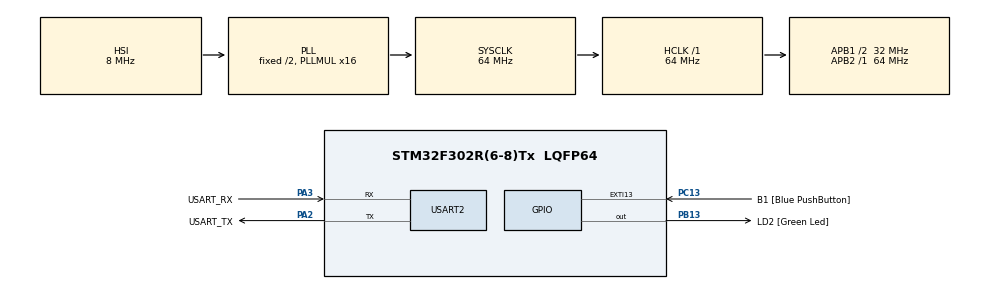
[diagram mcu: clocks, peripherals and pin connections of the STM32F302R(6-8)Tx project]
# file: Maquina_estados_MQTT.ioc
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Mcu.Family=STM32F3
Mcu.Name=STM32F302R(6-8)Tx
Mcu.Package=LQFP64
NVIC.PriorityGroup=NVIC_PRIORITYGROUP_0
PA13.GPIO_Label=TMS
PA13.Mode=Serial_Wire
PA13.Signal=SYS_JTMS-SWDIO
PA14.GPIO_Label=TCK
PA14.Mode=Serial_Wire
PA14.Signal=SYS_JTCK-SWCLK
PA2.GPIO_Label=USART_TX
PA2.GPIO_Mode=GPIO_MODE_AF_PP
PA2.GPIO_PuPd=GPIO_NOPULL
PA2.GPIO_Speed=GPIO_SPEED_FREQ_LOW
PA2.Mode=Asynchronous
PA2.Signal=USART2_TX
PA3.GPIO_Label=USART_RX
PA3.GPIO_Mode=GPIO_MODE_AF_PP
PA3.GPIO_PuPd=GPIO_NOPULL
PA3.GPIO_Speed=GPIO_SPEED_FREQ_LOW
PA3.Mode=Asynchronous
PA3.Signal=USART2_RX
PB13.GPIO_Label=LD2 [Green Led]
PB13.Signal=GPIO_Output
PB3.GPIO_Label=SWO
PB3.Mode=Trace_Asynchronous_SW
PB3.Signal=SYS_JTDO-TRACESWO
PC13.GPIO_Label=B1 [Blue PushButton]
PC13.GPIO_ModeDefaultEXTI=GPIO_MODE_IT_FALLING
PC13.Signal=GPXTI13
PC14\ -\ OSC32_IN.Mode=LSE-External-Oscillator
PC14\ -\ OSC32_IN.Signal=RCC_OSC32_IN
PC15\ -\ OSC32_OUT.Mode=LSE-External-Oscillator
PC15\ -\ OSC32_OUT.Signal=RCC_OSC32_OUT
PF0-OSC_IN.Mode=HSE-External-Clock-Source
PF0-OSC_IN.Signal=RCC_OSC_IN
PF1-OSC_OUT.Signal=RCC_OSC_OUT
ProjectManager.HeapSize=0x200
ProjectManager.StackSize=0x400
ProjectManager.TargetToolchain=STM32CubeIDE
RCC.AHBFreq_Value=64000000
RCC.APB1CLKDivider=RCC_HCLK_DIV2
RCC.APB1Freq_Value=32000000
RCC.APB1TimFreq_Value=64000000
RCC.APB2Freq_Value=64000000
RCC.APB2TimFreq_Value=64000000
RCC.CortexFreq_Value=64000000
RCC.HCLKFreq_Value=64000000
RCC.HSE_VALUE=8000000
RCC.HSI_VALUE=8000000
RCC.PLLM=8
RCC.PLLMUL=RCC_PLL_MUL16
RCC.PLLN=336
RCC.PLLP=RCC_PLLP_DIV4
RCC.PLLQ=7
RCC.RCC_PLLsource_Clock_Source_FROM_HSE=RCC_HSE_PREDIV_DIV2
RCC.SYSCLKFreq_VALUE=64000000
RCC.SYSCLKSourceVirtual=RCC_SYSCLKSOURCE_PLLCLK
RCC.USBFreq_Value=64000000
USART2.VirtualMode-Asynchronous=VM_ASYNC
board=NUCLEO-F302R8

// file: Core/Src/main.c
/* USER CODE BEGIN Header */
/**
  ******************************************************************************
  * @file           : main.c
  * @brief          : Main program body
  ******************************************************************************
  * @attention
  *
  * Copyright (c) 2024 STMicroelectronics.
  * All rights reserved.
  *
  * This software is licensed under terms that can be found in the LICENSE file
  * in the root directory of this software component.
  * If no LICENSE file comes with this software, it is provided AS-IS.
  *
  ******************************************************************************
  */
/* USER CODE END Header */
#include "main.h"

/* USER CODE BEGIN PD */
#define ESTADO_INICIO 0
#define ESTADO_CERRADO 2
#define ESTADO_CERRANDO 3
#define ESTADO_ABIERTO 4
#define ESTADO_ABRIENDO 5
#define ESTADO_ERR 6
#define ESTADO_T 1
#define ESTADO_F 0
#define RT_MAX 180
#define ERR_OK 0
#define ERR_LS 1
#define ERROR_RT 2

/* USER CODE END PD */

UART_HandleTypeDef huart2;

/* USER CODE BEGIN PV */
int ESTADO_SIGUIENTE = ESTADO_INICIO;
int ESTADO_ACTUAL = ESTADO_INICIO;
int ESTADO_ANTERIOR = ESTADO_INICIO;

struct DATA_IO
{
	unsigned int LSC:1;
	unsigned int LSA:1;
	unsigned int SPP:1; // COMANDO PULSO PULSO
	unsigned int MA:1; // INDICA MOTOR ABIERTO
	unsigned int MC:1; // INDICA MOTOR CERRADO
	unsigned int Cont_RT; // CONTADOR DE RUN TIME EN SEGUNDOS
	unsigned int Led_A:1;
	unsigned int Led_C:1;
	unsigned int Led_ERR:1;
	unsigned int COD_ERR: 1;
	unsigned int  DATOS_READY:1;

}data_io;

/* USER CODE END PV */

void SystemClock_Config(void);
static void MX_GPIO_Init(void);
static void MX_USART2_UART_Init(void);

/* USER CODE BEGIN 0 */
int Fun_INICIO(void);
int Fun_CERRADO(void);
int Fun_CERRANDO(void);
int Fun_ABRIENDO(void);
int Fun_ABIERTO(void);
int Fun_ERR(void);
int main(
/* USER CODE END 0 */

int main(void)
{

  /* USER CODE BEGIN 1 */

	for(;;)
	{
		if(ESTADO_SIGUIENTE == ESTADO_INICIO)
		{
			ESTADO_SIGUIENTE == Fun_INICIO();
		}

		if(ESTADO_SIGUIENTE == ESTADO_CERRADO)
				{
					ESTADO_SIGUIENTE == Fun_CERRADO();
				}

		if(ESTADO_SIGUIENTE == ESTADO_CERRANDO)
				{
					ESTADO_SIGUIENTE == Fun_CERRANDO();
				}

		if(ESTADO_SIGUIENTE == ESTADO_ABRIERDO)
				{
					ESTADO_SIGUIENTE == Fun_ABRIENDO();
				}

		if(ESTADO_SIGUIENTE == ESTADO_ABIERTO)
				{
					ESTADO_SIGUIENTE == Fun_ABIERTO();
				}

		if(ESTADO_SIGUIENTE == ESTADO_ERR)
					{
						ESTADO_SIGUIENTE == Fun_ERR();
					}

	}

	int Fun_INICIO(void) {

	    // Código de la función
		ESTADO_ANTERIOR = ESTADO_INICIO;
		ESTADO_ACTUAL = ESTADO_INICIO;

		data_io.MC = FALSE;
		data_io.MA = FALSE;
		data_io.SPP = FALSE;

		data_io.Led_A = TRUE;
		data_io.Led_C = TRUE;
		data_io.Led_ERR =TRUE;
				DELAY();
		data_io.Led_A = FALSE;
		data_io.Led_C = FALSE;
		data_io.Led_ERR = FALSE;
		data_io.COD _ERR = FALSE;
		data_io.Cont_RT = 0;
		data_io.DATOS_READY = FALSE;

		//posiblemente necesitemos esperar que se lean.
		// podemos llamar la funcion que sea las entradas.
		//antes de que el codigo continue.

		while(!DATOS_READY) // ESPERAR ENTRADA DE DATOS

	for(;;)
	{
		if (data_io.LSC == TRUE && data_io.LSA == FALSE)
		{
			return ESTADO_CERRADO;
		}

		if (data_io.LSC == TRUE && data_io.LSA == TRUE)
				{
					return ESTADO_ERR;
				}

		if (data_io.LSC == FALSE && data_io.LSA == FALSE)
				{
					return ESTADO_CERRANDO;
				}

		if (data_io.LSC == FALSE && data_io.LSA == TRUE)
				{
					return ESTADO_CERRANDO;
				}

	}
	};

	int Fun_CERRADO(void) {

	    // Código de la función
		        ESTADO_ANTERIOR = ESTADO_ACTUAL;
				ESTADO_ACTUAL = ESTADO_CERRADO;
				data_io.MC = FALSE;
				data_io.SPP = FALSE;
				data_io.Led_A = FALSE;
				data_io.Led_C = FALSE;
				data_io.Led_ERR = FALSE;

		    // Código de la función
		for(;;)
		{
			if (data_io.SPP == TRUE)
			{
				data_io.SPP == FALSE;
				return  ESTADO_ABRIENDO;
			}
		}

		};

	int Fun_CERRANDO(void) {

		    // Código de la función
		ESTADO_ANTERIOR = ESTADO_ACTUAL;
				ESTADO_ACTUAL = ESTADO_CERRANDO;
				data_io.MC = TRUE;
				data_io.Cont_RT = 0;

				data_io.Led_A = FALSE;
				data_io.Led_C = TRUE;
				data_io.Led_ERR = FALSE;
		for(;;)
		{
			if (data_io.LSC == TRUE)
			{
				return ESTADO_CERRANDO;
			}
			if (data_io.Cont_RT > RT_MAX)
						{
							return ESTADO_ERR;
						}
		}
		};

	int Fun_ABRIENDO(void) {
		 ESTADO_ANTERIOR = ESTADO_ACTUAL;
		    ESTADO_ACTUAL = ESTADO_ABRIENDO;
		   data
		    data_io.Cont_RT = 0;
		    data_io.led_C = FALSE;
		    data_io.led_A = TRUE;
		    data_io.led_ER = FALSE;
		    data.
		    // Código de la función
		for(;;)
		{
			 if (data_io.LSA == TRUE) // Si el sensor de apertura está activo//abrio
			        {
			            return ESTADO_ABIERTO;
			        }
			        if (data_io.Cont_RT > RT_MAX) // Si se supera el tiempo máximo ¡¡error
			        {
			            return ESTADO_ERROR;
			        }

		}
		};

	int Fun_ABIERTO(void) {
		 ESTADO_ANTERIOR = ESTADO_ACTUAL;
		    ESTADO_ACTUAL = ESTADO_ABIERTO;
		    data_io.MA = FALSE;
		    data_io.led_C = FALSE;
		    data_io.led_A = FALSE;
		    data_io.led_ER = FALSE;
		    // Código de la función
		for(;;)
		{
		    if (data_io.SPP == TRUE)
		        {
		            data_io.SPP = FALSE;
		            return ESTADO_CERRANDO;
		        }
		}
		};

	int Fun_ERR(void) {
		   ESTADO_ANTERIOR = ESTADO_ACTUAL;
		    ESTADO_ACTUAL = ESTADO_ERROR;
		    data_io.MA = FALSE;
		    data_io.MC = FALSE;
		    data_io.led_C = FALSE;
		    data_io.led_A = FALSE;
		    data_io.led_ER = TRUE; // LED DE ERROR ON
		    data_io.COD_ERR = ERROR_RT; // ERROR EXCEDIDO

		    // Código de la función
		for(;;)
		{
			 if (data_io.LSC == FALSE && data_io.LSA == FALSE) // ERR
			        {
			            if (data_io.RSBT == FALSE)
			            {
			                return ESTADO_ACTUAL;
			            }

			            // SI SE PRESIONA RESET
			            data_io.RSBT = TRUE;
			            return ESTADO_INIT;
			        }
		}
		};

  /* USER CODE END 1 */

  /* MCU Configuration--------------------------------------------------------*/

  /* Reset of all peripherals, Initializes the Flash interface and the Systick. */
  HAL_Init();

  /* Configure the system clock */
  SystemClock_Config();

  /* Initialize all configured peripherals */
  MX_GPIO_Init();
  MX_USART2_UART_Init();

  /* Infinite loop */
  while (1)
  {

  }
}

void SystemClock_Config(void)
{
  RCC_OscInitTypeDef RCC_OscInitStruct = {0};
  RCC_ClkInitTypeDef RCC_ClkInitStruct = {0};

  /** Initializes the RCC Oscillators according to the specified parameters
  * in the RCC_OscInitTypeDef structure.
  */
  RCC_OscInitStruct.OscillatorType = RCC_OSCILLATORTYPE_HSI;
  RCC_OscInitStruct.HSIState = RCC_HSI_ON;
  RCC_OscInitStruct.HSICalibrationValue = RCC_HSICALIBRATION_DEFAULT;
  RCC_OscInitStruct.PLL.PLLState = RCC_PLL_ON;
  RCC_OscInitStruct.PLL.PLLSource = RCC_PLLSOURCE_HSI;
  RCC_OscInitStruct.PLL.PLLMUL = RCC_PLL_MUL16;
  if (HAL_RCC_OscConfig(&RCC_OscInitStruct) != HAL_OK)
  {
    Error_Handler();
  }

  /** Initializes the CPU, AHB and APB buses clocks
  */
  RCC_ClkInitStruct.ClockType = RCC_CLOCKTYPE_HCLK|RCC_CLOCKTYPE_SYSCLK
                              |RCC_CLOCKTYPE_PCLK1|RCC_CLOCKTYPE_PCLK2;
  RCC_ClkInitStruct.SYSCLKSource = RCC_SYSCLKSOURCE_PLLCLK;
  RCC_ClkInitStruct.AHBCLKDivider = RCC_SYSCLK_DIV1;
  RCC_ClkInitStruct.APB1CLKDivider = RCC_HCLK_DIV2;
  RCC_ClkInitStruct.APB2CLKDivider = RCC_HCLK_DIV1;

  if (HAL_RCC_ClockConfig(&RCC_ClkInitStruct, FLASH_LATENCY_2) != HAL_OK)
  {
    Error_Handler();
  }
}

static void MX_USART2_UART_Init(void)
{

  huart2.Instance = USART2;
  huart2.Init.BaudRate = 38400;
  huart2.Init.WordLength = UART_WORDLENGTH_8B;
  huart2.Init.StopBits = UART_STOPBITS_1;
  huart2.Init.Parity = UART_PARITY_NONE;
  huart2.Init.Mode = UART_MODE_TX_RX;
  huart2.Init.HwFlowCtl = UART_HWCONTROL_NONE;
  huart2.Init.OverSampling = UART_OVERSAMPLING_16;
  huart2.Init.OneBitSampling = UART_ONE_BIT_SAMPLE_DISABLE;
  huart2.AdvancedInit.AdvFeatureInit = UART_ADVFEATURE_NO_INIT;
  if (HAL_UART_Init(&huart2) != HAL_OK)
  {
    Error_Handler();
  }

}

static void MX_GPIO_Init(void)
{
  GPIO_InitTypeDef GPIO_InitStruct = {0};

  /* GPIO Ports Clock Enable */
  __HAL_RCC_GPIOC_CLK_ENABLE();
  __HAL_RCC_GPIOF_CLK_ENABLE();
  __HAL_RCC_GPIOA_CLK_ENABLE();
  __HAL_RCC_GPIOB_CLK_ENABLE();

  /*Configure GPIO pin Output Level */
  HAL_GPIO_WritePin(LD2_GPIO_Port, LD2_Pin, GPIO_PIN_RESET);

  /*Configure GPIO pin : B1_Pin */
  GPIO_InitStruct.Pin = B1_Pin;
  GPIO_InitStruct.Mode = GPIO_MODE_IT_FALLING;
  GPIO_InitStruct.Pull = GPIO_NOPULL;
  HAL_GPIO_Init(B1_GPIO_Port, &GPIO_InitStruct);

  /*Configure GPIO pin : LD2_Pin */
  GPIO_InitStruct.Pin = LD2_Pin;
  GPIO_InitStruct.Mode = GPIO_MODE_OUTPUT_PP;
  GPIO_InitStruct.Pull = GPIO_NOPULL;
  GPIO_InitStruct.Speed = GPIO_SPEED_FREQ_LOW;
  HAL_GPIO_Init(LD2_GPIO_Port, &GPIO_InitStruct);

}

void Error_Handler(void)
{
  __disable_irq();
  while (1)
  {
  }
}
